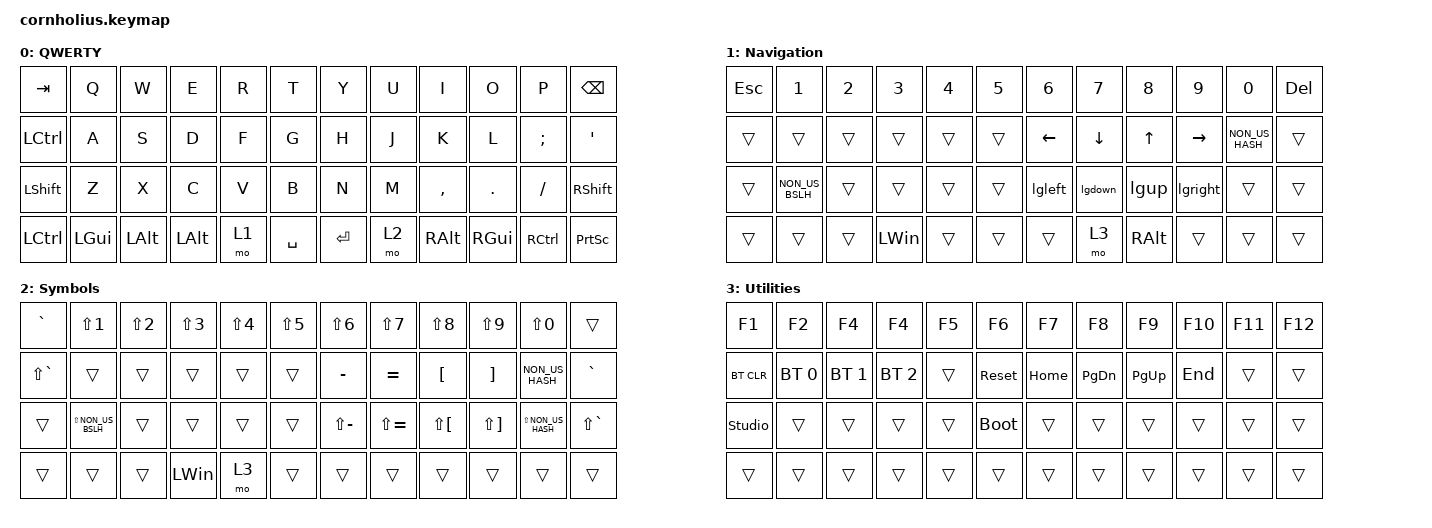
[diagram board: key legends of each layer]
/*
 * Copyright (c) 2022 The ZMK Contributors
 *
 * SPDX-License-Identifier: MIT
 */

#include <behaviors.dtsi>
#include <dt-bindings/zmk/bt.h>
#include <dt-bindings/zmk/keys.h>

// I am using Win + Arrows for tiling, LG(code) however caused some glitches with sending both LGUI + arrow and then LGUI separately.
// This leads to unwanted opening of the start menu. These macros work around this issue.

/ {
    macros {
        lgleft: lgleft {
            compatible = "zmk,behavior-macro";
            #binding-cells = <0>;
            bindings =
                <&macro_press>,
                <&kp LWIN>,
                <&macro_tap>,
                <&kp LEFT>,
                <&macro_release>,
                <&kp LWIN>;
        };
        lgright: lgright {
            compatible = "zmk,behavior-macro";
            #binding-cells = <0>;
            bindings =
                <&macro_press>,
                <&kp LWIN>,
                <&macro_tap>,
                <&kp RIGHT>,
                <&macro_release>,
                <&kp LWIN>;
        };
        lgup: lgup {
            compatible = "zmk,behavior-macro";
            #binding-cells = <0>;
            bindings =
                <&macro_press>,
                <&kp LWIN>,
                <&macro_tap>,
                <&kp UP>,
                <&macro_release>,
                <&kp LWIN>;
        };
        lgdown: lgdown {
            compatible = "zmk,behavior-macro";
            #binding-cells = <0>;
            bindings =
                <&macro_press>,
                <&kp LWIN>,
                <&macro_tap>,
                <&kp DOWN>,
                <&macro_release>,
                <&kp LWIN>;
        };
    };
};

/ {
    keymap {
        compatible = "zmk,keymap";

        default_layer {
            display-name = "QWERTY";
            bindings = <
&kp TAB     &kp Q           &kp W       &kp E     &kp R  &kp T              &kp Y       &kp U       &kp I      &kp O        &kp P           &kp BSPC
&kp LCTRL   &kp A           &kp S       &kp D     &kp F  &kp G              &kp H       &kp J       &kp K      &kp L        &kp SEMI        &kp SQT
&kp LSHFT   &kp Z           &kp X       &kp C     &kp V  &kp B              &kp N       &kp M       &kp COMMA  &kp DOT      &kp SLASH       &kp RIGHT_SHIFT
&kp LCTRL   &kp LGUI        &kp LALT    &kp LALT  &mo 1  &kp SPACE          &kp ENTER   &mo 2       &kp RALT   &kp RGUI     &kp RCTRL       &kp PSCRN
            >;
        };

        nav_layer {
            display-name = "Navigation";
            bindings = <
&kp ESC     &kp N1          &kp N2      &kp N3    &kp N4  &kp N5            &kp N6      &kp N7      &kp N8      &kp N9      &kp N0          &kp DEL
&trans      &trans          &trans      &trans    &trans  &trans            &kp LEFT    &kp DOWN    &kp UP      &kp RIGHT   &kp NON_US_HASH &trans
&trans      &kp NON_US_BSLH &trans      &trans    &trans  &trans            &lgleft     &lgdown     &lgup       &lgright    &trans          &trans
&trans      &trans          &trans      &kp LWIN  &trans  &trans            &trans      &mo 3       &kp RALT    &trans      &trans          &trans
            >;
        };

        symbol_layer {
            display-name = "Symbols";
            bindings = <
&kp GRAVE      &kp LS(N1)           &kp LS(N2)  &kp LS(N3)  &kp LS(N4)  &kp LS(N5)          &kp LS(N6)      &kp LS(N7)     &kp LS(N8)   &kp LS(N9)      &kp LS(N0)          &trans
&kp LS(GRAVE)  &trans               &trans      &trans      &trans      &trans              &kp MINUS       &kp EQUAL      &kp LBKT     &kp RBKT        &kp NON_US_HASH     &kp GRAVE
&trans         &kp LS(NON_US_BSLH)  &trans      &trans      &trans      &trans              &kp LS(MINUS)   &kp LS(EQUAL)  &kp LS(LBKT) &kp LS(RBKT)    &kp LS(NON_US_HASH) &kp LS(GRAVE)
&trans         &trans               &trans      &kp LWIN    &mo 3       &trans              &trans          &trans         &trans       &trans          &trans              &trans
            >;
        };

        F_layer {
            display-name = "Utilities";
            bindings = <
&kp F1      &kp F2        &kp F4        &kp F4        &kp F5  &kp F6                &kp F7      &kp F8      &kp F9      &kp F10     &kp F11     &kp F12
&bt BT_CLR  &bt BT_SEL 0  &bt BT_SEL 1  &bt BT_SEL 2  &trans  &sys_reset            &kp HOME    &kp PG_DN   &kp PG_UP   &kp END     &trans      &trans
&studio_unlock &trans     &trans        &trans        &trans  &bootloader           &trans      &trans      &trans      &trans      &trans      &trans
&trans      &trans        &trans        &trans        &trans  &trans                &trans      &trans      &trans      &trans      &trans      &trans
            >;
        };
    };
};
